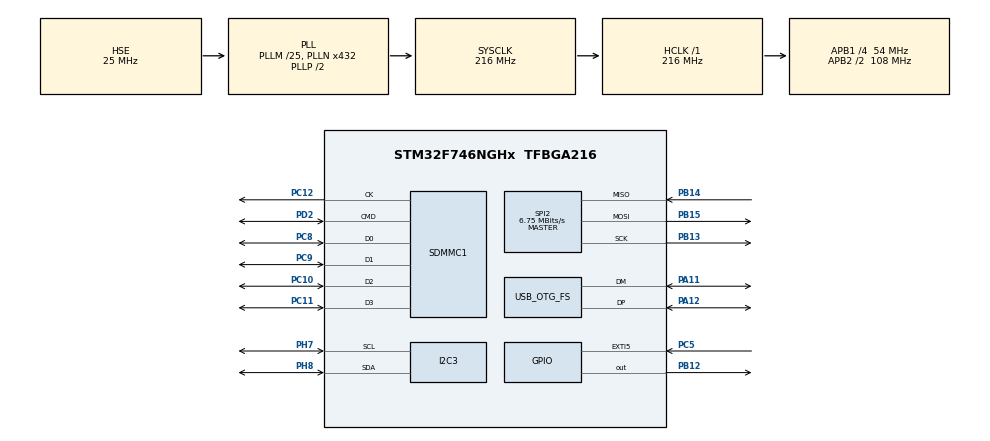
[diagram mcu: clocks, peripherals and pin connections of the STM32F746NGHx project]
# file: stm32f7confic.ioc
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CORTEX_M7.default_mode_Activation=1
FREERTOS.Tasks01=defaultTask,24,256,StartDefaultTask,Default,NULL,Dynamic,NULL,NULL;UI_Task,24,256,StartTask02,Default,NULL,Dynamic,NULL,NULL;CAN_Task,24,256,StartTask03,Default,NULL,Dynamic,NULL,NULL;SD_Task,24,256,StartTask04,Default,NULL,Dynamic,NULL,NULL
I2C3.Timing=0x20404768
Mcu.Family=STM32F7
Mcu.Name=STM32F746NGHx
Mcu.Package=TFBGA216
NVIC.EXTI9_5_IRQn=true\:5\:0\:false\:false\:true\:true\:true\:true\:true
NVIC.PriorityGroup=NVIC_PRIORITYGROUP_4
PA11.Mode=Device_Only
PA11.Signal=USB_OTG_FS_DM
PA12.Mode=Device_Only
PA12.Signal=USB_OTG_FS_DP
PB12.GPIO_Speed=GPIO_SPEED_FREQ_HIGH
PB12.PinState=GPIO_PIN_SET
PB12.Signal=GPIO_Output
PB13.Mode=Full_Duplex_Master
PB13.Signal=SPI2_SCK
PB14.Mode=Full_Duplex_Master
PB14.Signal=SPI2_MISO
PB15.Mode=Full_Duplex_Master
PB15.Signal=SPI2_MOSI
PC10.Mode=SD_4_bits_Wide_bus
PC10.Signal=SDMMC1_D2
PC11.Mode=SD_4_bits_Wide_bus
PC11.Signal=SDMMC1_D3
PC12.Mode=SD_4_bits_Wide_bus
PC12.Signal=SDMMC1_CK
PC5.GPIO_PuPd=GPIO_PULLUP
PC5.Signal=GPXTI5
PC8.Mode=SD_4_bits_Wide_bus
PC8.Signal=SDMMC1_D0
PC9.Mode=SD_4_bits_Wide_bus
PC9.Signal=SDMMC1_D1
PD2.Mode=SD_4_bits_Wide_bus
PD2.Signal=SDMMC1_CMD
PH0/OSC_IN.Mode=HSE-External-Oscillator
PH0/OSC_IN.Signal=RCC_OSC_IN
PH1/OSC_OUT.Mode=HSE-External-Oscillator
PH1/OSC_OUT.Signal=RCC_OSC_OUT
PH7.Mode=I2C
PH7.Signal=I2C3_SCL
PH8.Mode=I2C
PH8.Signal=I2C3_SDA
ProjectManager.HeapSize=0x200
ProjectManager.StackSize=0x400
ProjectManager.TargetToolchain=STM32CubeIDE
RCC.AHBFreq_Value=216000000
RCC.APB1CLKDivider=RCC_HCLK_DIV4
RCC.APB1Freq_Value=54000000
RCC.APB1TimFreq_Value=108000000
RCC.APB2CLKDivider=RCC_HCLK_DIV2
RCC.APB2Freq_Value=108000000
RCC.APB2TimFreq_Value=216000000
RCC.CortexFreq_Value=216000000
RCC.HCLKFreq_Value=216000000
RCC.HSE_VALUE=25000000
RCC.HSI_VALUE=16000000
RCC.LSE_VALUE=32768
RCC.PLLM=25
RCC.PLLN=432
RCC.PLLQ=9
RCC.PLLSourceVirtual=RCC_PLLSOURCE_HSE
RCC.SDMMCClockSelection=RCC_SDMMC1CLKSOURCE_CLK48
RCC.SYSCLKFreq_VALUE=216000000
RCC.SYSCLKSource=RCC_SYSCLKSOURCE_PLLCLK
RCC.USBFreq_Value=48000000
RCC.VCOOutputFreq_Value=432000000
SPI2.BaudRatePrescaler=SPI_BAUDRATEPRESCALER_8
SPI2.CalculateBaudRate=6.75 MBits/s
SPI2.DataSize=SPI_DATASIZE_8BIT
SPI2.Direction=SPI_DIRECTION_2LINES
SPI2.Mode=SPI_MODE_MASTER
SPI2.VirtualType=VM_MASTER
USB_OTG_FS.VirtualMode=Device_Only
VP_FATFS_VS_SDIO.Mode=SDIO
VP_FREERTOS_VS_CMSIS_V2.Mode=CMSIS_V2
board=custom

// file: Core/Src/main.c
/* USER CODE BEGIN Header */
/**
  ******************************************************************************
  * @file           : main.c
  * @brief          : Main program body
  ******************************************************************************
  * @attention
  *
  * Copyright (c) 2026 STMicroelectronics.
  * All rights reserved.
  *
  * This software is licensed under terms that can be found in the LICENSE file
  * in the root directory of this software component.
  * If no LICENSE file comes with this software, it is provided AS-IS.
  *
  ******************************************************************************
  */
/* USER CODE END Header */
#include "main.h"
#include "cmsis_os.h"
#include "fatfs.h"

/* USER CODE BEGIN Includes */
#include "test_functions.h"
#include "lvgl.h"
#include "lv_port_disp.h"
#include "lv_port_indev.h"

/* USER CODE END Includes */

/* USER CODE BEGIN PD */

#define CONF_LED_PIN

/* USER CODE END PD */

I2C_HandleTypeDef hi2c3;

SD_HandleTypeDef hsd1;

SPI_HandleTypeDef hspi2;

PCD_HandleTypeDef hpcd_USB_OTG_FS;

/* Definitions for defaultTask */
osThreadId_t defaultTaskHandle;
const osThreadAttr_t defaultTask_attributes = {
  .name = "defaultTask",
  .stack_size = 256 * 4,
  .priority = (osPriority_t) osPriorityNormal,
};
/* Definitions for UI_Task */
osThreadId_t UI_TaskHandle;
const osThreadAttr_t UI_Task_attributes = {
  .name = "UI_Task",
  .stack_size = 256 * 4,
  .priority = (osPriority_t) osPriorityNormal,
};
/* Definitions for CAN_Task */
osThreadId_t CAN_TaskHandle;
const osThreadAttr_t CAN_Task_attributes = {
  .name = "CAN_Task",
  .stack_size = 256 * 4,
  .priority = (osPriority_t) osPriorityNormal,
};
/* Definitions for SD_Task */
osThreadId_t SD_TaskHandle;
const osThreadAttr_t SD_Task_attributes = {
  .name = "SD_Task",
  .stack_size = 256 * 4,
  .priority = (osPriority_t) osPriorityNormal,
};
/* USER CODE BEGIN PV */

/* Place LVGL framebuffer pointer here */
uint16_t *lv_framebuffer = (uint16_t*)0xC0000000;

/* USER CODE END PV */

void SystemClock_Config(void);
static void MPU_Config(void);
static void MX_GPIO_Init(void);
static void MX_I2C3_Init(void);
static void MX_SDMMC1_SD_Init(void);
static void MX_SPI2_Init(void);
static void MX_USB_OTG_FS_PCD_Init(void);
void StartDefaultTask(void *argument);
void StartTask02(void *argument);
void StartTask03(void *argument);
void StartTask04(void *argument);

int main(void)
{

  /* MPU Configuration--------------------------------------------------------*/
  MPU_Config();

  /* MCU Configuration--------------------------------------------------------*/

  /* Reset of all peripherals, Initializes the Flash interface and the Systick. */
  HAL_Init();

  /* Configure the system clock */
  SystemClock_Config();

  /* Initialize all configured peripherals */
  MX_GPIO_Init();
  MX_I2C3_Init();
  MX_SDMMC1_SD_Init();
  MX_SPI2_Init();
  MX_USB_OTG_FS_PCD_Init();
  MX_FATFS_Init();
  /* USER CODE BEGIN 2 */

#ifdef CONF_LED_PIN
  __HAL_RCC_GPIOI_CLK_ENABLE();

  GPIO_InitTypeDef GPIO_InitStruct = {0};
  GPIO_InitStruct.Pin = GPIO_PIN_1;
  GPIO_InitStruct.Mode = GPIO_MODE_OUTPUT_PP;
  GPIO_InitStruct.Pull = GPIO_NOPULL;
  GPIO_InitStruct.Speed = GPIO_SPEED_FREQ_LOW;
  HAL_GPIO_Init(GPIOI, &GPIO_InitStruct);
#endif

  /* USER CODE END 2 */

  /* Init scheduler */
  osKernelInitialize();

  /* Create the thread(s) */
  /* creation of defaultTask */
  defaultTaskHandle = osThreadNew(StartDefaultTask, NULL, &defaultTask_attributes);

  /* creation of UI_Task */
  UI_TaskHandle = osThreadNew(StartTask02, NULL, &UI_Task_attributes);

  /* creation of CAN_Task */
  CAN_TaskHandle = osThreadNew(StartTask03, NULL, &CAN_Task_attributes);

  /* creation of SD_Task */
  SD_TaskHandle = osThreadNew(StartTask04, NULL, &SD_Task_attributes);

  /* Start scheduler */
  osKernelStart();

  /* We should never get here as control is now taken by the scheduler */

  /* Infinite loop */
  while (1)
  {

  }
}

void SystemClock_Config(void)
{
  RCC_OscInitTypeDef RCC_OscInitStruct = {0};
  RCC_ClkInitTypeDef RCC_ClkInitStruct = {0};

  /** Configure the main internal regulator output voltage
  */
  __HAL_RCC_PWR_CLK_ENABLE();
  __HAL_PWR_VOLTAGESCALING_CONFIG(PWR_REGULATOR_VOLTAGE_SCALE1);

  /** Initializes the RCC Oscillators according to the specified parameters
  * in the RCC_OscInitTypeDef structure.
  */
  RCC_OscInitStruct.OscillatorType = RCC_OSCILLATORTYPE_HSE;
  RCC_OscInitStruct.HSEState = RCC_HSE_ON;
  RCC_OscInitStruct.PLL.PLLState = RCC_PLL_ON;
  RCC_OscInitStruct.PLL.PLLSource = RCC_PLLSOURCE_HSE;
  RCC_OscInitStruct.PLL.PLLM = 25;
  RCC_OscInitStruct.PLL.PLLN = 432;
  RCC_OscInitStruct.PLL.PLLP = RCC_PLLP_DIV2;
  RCC_OscInitStruct.PLL.PLLQ = 9;
  if (HAL_RCC_OscConfig(&RCC_OscInitStruct) != HAL_OK)
  {
    Error_Handler();
  }

  /** Activate the Over-Drive mode
  */
  if (HAL_PWREx_EnableOverDrive() != HAL_OK)
  {
    Error_Handler();
  }

  /** Initializes the CPU, AHB and APB buses clocks
  */
  RCC_ClkInitStruct.ClockType = RCC_CLOCKTYPE_HCLK|RCC_CLOCKTYPE_SYSCLK
                              |RCC_CLOCKTYPE_PCLK1|RCC_CLOCKTYPE_PCLK2;
  RCC_ClkInitStruct.SYSCLKSource = RCC_SYSCLKSOURCE_PLLCLK;
  RCC_ClkInitStruct.AHBCLKDivider = RCC_SYSCLK_DIV1;
  RCC_ClkInitStruct.APB1CLKDivider = RCC_HCLK_DIV4;
  RCC_ClkInitStruct.APB2CLKDivider = RCC_HCLK_DIV2;

  if (HAL_RCC_ClockConfig(&RCC_ClkInitStruct, FLASH_LATENCY_7) != HAL_OK)
  {
    Error_Handler();
  }
}

static void MX_I2C3_Init(void)
{

  hi2c3.Instance = I2C3;
  hi2c3.Init.Timing = 0x20404768;
  hi2c3.Init.OwnAddress1 = 0;
  hi2c3.Init.AddressingMode = I2C_ADDRESSINGMODE_7BIT;
  hi2c3.Init.DualAddressMode = I2C_DUALADDRESS_DISABLE;
  hi2c3.Init.OwnAddress2 = 0;
  hi2c3.Init.OwnAddress2Masks = I2C_OA2_NOMASK;
  hi2c3.Init.GeneralCallMode = I2C_GENERALCALL_DISABLE;
  hi2c3.Init.NoStretchMode = I2C_NOSTRETCH_DISABLE;
  if (HAL_I2C_Init(&hi2c3) != HAL_OK)
  {
    Error_Handler();
  }

  /** Configure Analogue filter
  */
  if (HAL_I2CEx_ConfigAnalogFilter(&hi2c3, I2C_ANALOGFILTER_ENABLE) != HAL_OK)
  {
    Error_Handler();
  }

  /** Configure Digital filter
  */
  if (HAL_I2CEx_ConfigDigitalFilter(&hi2c3, 0) != HAL_OK)
  {
    Error_Handler();
  }

}

static void MX_SDMMC1_SD_Init(void)
{

  hsd1.Instance = SDMMC1;
  hsd1.Init.ClockEdge = SDMMC_CLOCK_EDGE_RISING;
  hsd1.Init.ClockBypass = SDMMC_CLOCK_BYPASS_DISABLE;
  hsd1.Init.ClockPowerSave = SDMMC_CLOCK_POWER_SAVE_DISABLE;
  hsd1.Init.BusWide = SDMMC_BUS_WIDE_1B;
  hsd1.Init.HardwareFlowControl = SDMMC_HARDWARE_FLOW_CONTROL_DISABLE;
  hsd1.Init.ClockDiv = 0;

}

static void MX_SPI2_Init(void)
{

  /* SPI2 parameter configuration*/
  hspi2.Instance = SPI2;
  hspi2.Init.Mode = SPI_MODE_MASTER;
  hspi2.Init.Direction = SPI_DIRECTION_2LINES;
  hspi2.Init.DataSize = SPI_DATASIZE_8BIT;
  hspi2.Init.CLKPolarity = SPI_POLARITY_LOW;
  hspi2.Init.CLKPhase = SPI_PHASE_1EDGE;
  hspi2.Init.NSS = SPI_NSS_SOFT;
  hspi2.Init.BaudRatePrescaler = SPI_BAUDRATEPRESCALER_8;
  hspi2.Init.FirstBit = SPI_FIRSTBIT_MSB;
  hspi2.Init.TIMode = SPI_TIMODE_DISABLE;
  hspi2.Init.CRCCalculation = SPI_CRCCALCULATION_DISABLE;
  hspi2.Init.CRCPolynomial = 7;
  hspi2.Init.CRCLength = SPI_CRC_LENGTH_DATASIZE;
  hspi2.Init.NSSPMode = SPI_NSS_PULSE_ENABLE;
  if (HAL_SPI_Init(&hspi2) != HAL_OK)
  {
    Error_Handler();
  }

}

static void MX_USB_OTG_FS_PCD_Init(void)
{

  hpcd_USB_OTG_FS.Instance = USB_OTG_FS;
  hpcd_USB_OTG_FS.Init.dev_endpoints = 6;
  hpcd_USB_OTG_FS.Init.speed = PCD_SPEED_FULL;
  hpcd_USB_OTG_FS.Init.dma_enable = DISABLE;
  hpcd_USB_OTG_FS.Init.phy_itface = PCD_PHY_EMBEDDED;
  hpcd_USB_OTG_FS.Init.Sof_enable = DISABLE;
  hpcd_USB_OTG_FS.Init.low_power_enable = DISABLE;
  hpcd_USB_OTG_FS.Init.lpm_enable = DISABLE;
  hpcd_USB_OTG_FS.Init.vbus_sensing_enable = DISABLE;
  hpcd_USB_OTG_FS.Init.use_dedicated_ep1 = DISABLE;
  if (HAL_PCD_Init(&hpcd_USB_OTG_FS) != HAL_OK)
  {
    Error_Handler();
  }

}

static void MX_GPIO_Init(void)
{
  GPIO_InitTypeDef GPIO_InitStruct = {0};

  /* GPIO Ports Clock Enable */
  __HAL_RCC_GPIOC_CLK_ENABLE();
  __HAL_RCC_GPIOA_CLK_ENABLE();
  __HAL_RCC_GPIOD_CLK_ENABLE();
  __HAL_RCC_GPIOH_CLK_ENABLE();
  __HAL_RCC_GPIOB_CLK_ENABLE();

  /*Configure GPIO pin Output Level */
  HAL_GPIO_WritePin(GPIOB, GPIO_PIN_12, GPIO_PIN_SET);

  /*Configure GPIO pin : PB12 */
  GPIO_InitStruct.Pin = GPIO_PIN_12;
  GPIO_InitStruct.Mode = GPIO_MODE_OUTPUT_PP;
  GPIO_InitStruct.Pull = GPIO_NOPULL;
  GPIO_InitStruct.Speed = GPIO_SPEED_FREQ_HIGH;
  HAL_GPIO_Init(GPIOB, &GPIO_InitStruct);

  /*Configure GPIO pin : PC5 */
  GPIO_InitStruct.Pin = GPIO_PIN_5;
  GPIO_InitStruct.Mode = GPIO_MODE_IT_FALLING;
  GPIO_InitStruct.Pull = GPIO_PULLUP;
  HAL_GPIO_Init(GPIOC, &GPIO_InitStruct);

  /* EXTI interrupt init*/
  HAL_NVIC_SetPriority(EXTI9_5_IRQn, 5, 0);
  HAL_NVIC_EnableIRQ(EXTI9_5_IRQn);

}

/* USER CODE BEGIN 4 */

void HAL_GPIO_EXTI_Callback(uint16_t GPIO_Pin)
{
    if (GPIO_Pin == GPIO_PIN_5)
    {
    	HAL_GPIO_TogglePin(GPIOI, GPIO_PIN_1);
    }
}

/* USER CODE END 4 */

void StartDefaultTask(void *argument)
{
  /* USER CODE BEGIN 5 */

  /* Infinite loop */
  for(;;)
  {
    Tests_Init();
    osDelay(1000);
  }
  /* USER CODE END 5 */
}

void StartTask02(void *argument)
{
  /* USER CODE BEGIN StartTask02 */

  /* Initialize LVGL core */
  lv_init();

  /* Initialize display and touch drivers */
  lv_port_disp_init();
  lv_port_indev_init();

  /* Create a test button */
  lv_obj_t *btn = lv_btn_create(lv_scr_act());
  lv_obj_set_size(btn, 120, 50);
  lv_obj_align(btn, LV_ALIGN_CENTER, 0, 0);

  lv_obj_t *label = lv_label_create(btn);
  lv_label_set_text(label, "Hello Manuel");
  lv_obj_center(label);

  /* Infinite loop */
  for(;;)
  {
    osDelay(5);
  }
  /* USER CODE END StartTask02 */
}

void StartTask03(void *argument)
{
  for(;;)
  {
    osDelay(1);
  }
}

void StartTask04(void *argument)
{
  for(;;)
  {
    osDelay(1);
  }
}

 /* MPU Configuration */

void MPU_Config(void)
{
  MPU_Region_InitTypeDef MPU_InitStruct = {0};

  /* Disables the MPU */
  HAL_MPU_Disable();

  /** Initializes and configures the Region and the memory to be protected
  */
  MPU_InitStruct.Enable = MPU_REGION_ENABLE;
  MPU_InitStruct.Number = MPU_REGION_NUMBER0;
  MPU_InitStruct.BaseAddress = 0x0;
  MPU_InitStruct.Size = MPU_REGION_SIZE_4GB;
  MPU_InitStruct.SubRegionDisable = 0x87;
  MPU_InitStruct.TypeExtField = MPU_TEX_LEVEL0;
  MPU_InitStruct.AccessPermission = MPU_REGION_NO_ACCESS;
  MPU_InitStruct.DisableExec = MPU_INSTRUCTION_ACCESS_DISABLE;
  MPU_InitStruct.IsShareable = MPU_ACCESS_SHAREABLE;
  MPU_InitStruct.IsCacheable = MPU_ACCESS_NOT_CACHEABLE;
  MPU_InitStruct.IsBufferable = MPU_ACCESS_NOT_BUFFERABLE;

  HAL_MPU_ConfigRegion(&MPU_InitStruct);
  /* Enables the MPU */
  HAL_MPU_Enable(MPU_PRIVILEGED_DEFAULT);

}

void Error_Handler(void)
{
  __disable_irq();
  while (1)
  {
  }
}
